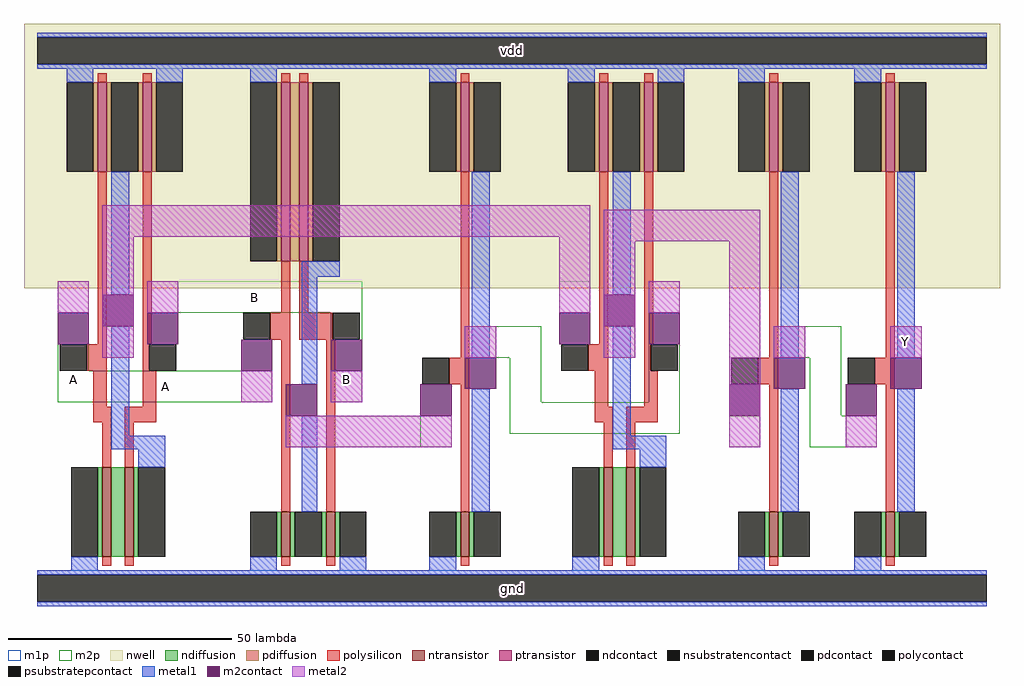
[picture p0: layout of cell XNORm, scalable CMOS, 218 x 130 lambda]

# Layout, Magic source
magic
tech scmos
magscale 1 2
<< metal2 >>
rect -121 71 97 85
rect -141 37 -127 51
rect -121 31 -107 71
rect 83 37 97 71
rect 103 69 173 83
rect 103 17 117 69
rect -39 -23 35 -9
rect 159 -23 173 69
rect 179 17 193 31
<< m2p >>
rect -141 11 -127 51
rect -101 37 -5 51
rect -141 -3 -45 11
rect -19 -3 -5 37
rect 41 17 75 31
rect 61 -3 75 17
rect 123 -3 137 51
rect 179 17 209 31
rect 61 -17 137 -3
rect 195 -9 209 17
rect 195 -23 225 -9
use INVm  INVm_0
transform 1 0 14 0 1 -80
box -8 -14 76 246
use INVm  INVm_1
transform 1 0 152 0 1 -80
box -8 -14 76 246
use INVm  INVm_2
transform 1 0 204 0 1 -80
box -8 -14 76 246
use NANDm  NANDm_0
transform 1 0 -144 0 1 -86
box -12 -8 92 252
use NANDm  NANDm_1
transform 1 0 80 0 1 -86
box -12 -8 92 252
use NORm  NORm_0
transform 1 0 -62 0 1 -86
box -12 -8 92 252
<< labels >>
rlabel metal2 -141 -3 -45 11 0 A
port 7 nsew
rlabel metal2 231 17 245 31 0 Y
port 8 nsew
rlabel psubstratepcontact -150 -92 274 -80 0 gnd
port 9 nsew
rlabel nsubstratencontact -150 148 274 160 0 vdd
port 10 nsew
rlabel metal2 -101 37 -5 51 0 B
port 11 nsew
rlabel metal2 -19 -3 -5 17 0 B
port 11 nsew
rlabel metal2 -141 -3 -127 17 0 A
port 7 nsew
<< end >>

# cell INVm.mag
magic
tech scmos
use INVX1  INVX1_0 digital_ETRI_copy
transform 1 0 2 0 1 -3
box -6 -4 36 126
<< end >>

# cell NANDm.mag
magic
tech scmos
use NAND2X1  NAND2X1_0 digital_ETRI_copy
transform 1 0 0 0 1 0
box -6 -4 46 126
<< end >>

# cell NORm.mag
magic
tech scmos
use NOR2X1  NOR2X1_0 digital_ETRI_copy
transform 1 0 0 0 1 0
box -6 -4 46 126
<< end >>

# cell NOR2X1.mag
magic
tech scmos
magscale 1 2
<< nwell >>
rect -12 134 92 252
<< ntransistor >>
rect 21 14 25 34
rect 41 14 45 34
<< ptransistor >>
rect 21 146 25 226
rect 29 146 33 226
<< ndiffusion >>
rect 19 14 21 34
rect 25 14 27 34
rect 39 14 41 34
rect 45 14 47 34
<< pdiffusion >>
rect 19 146 21 226
rect 25 146 29 226
rect 33 146 35 226
<< ndcontact >>
rect 7 14 19 34
rect 27 14 39 34
rect 47 14 59 34
<< pdcontact >>
rect 7 146 19 226
rect 35 146 47 226
<< psubstratepcontact >>
rect -6 -6 86 6
<< nsubstratencontact >>
rect -6 234 86 246
<< polysilicon >>
rect 21 226 25 230
rect 29 226 33 230
rect 21 123 25 146
rect 16 111 25 123
rect 29 123 33 146
rect 29 111 44 123
rect 21 34 25 111
rect 41 34 45 111
rect 21 10 25 14
rect 41 10 45 14
<< polycontact >>
rect 4 111 16 123
rect 44 111 56 123
<< metal1 >>
rect -6 246 86 248
rect -6 232 86 234
rect 7 226 19 232
rect 30 139 47 146
rect 30 91 37 139
rect 30 34 37 77
rect 7 8 19 14
rect 47 8 59 14
rect -6 6 86 8
rect -6 -8 86 -6
<< m2contact >>
rect 3 97 17 111
rect 43 97 57 111
rect 23 77 37 91
<< metal2 >>
rect 3 83 17 97
rect 43 83 57 97
rect 23 63 37 77
<< m1p >>
rect -6 232 86 248
rect -6 -8 86 8
<< m2p >>
rect 3 83 17 97
rect 43 83 57 97
rect 23 63 37 77
<< labels >>
rlabel metal1 -6 -8 86 8 0 gnd
port 4 nsew ground bidirectional abutment
rlabel metal1 -6 232 86 248 0 vdd
port 3 nsew power bidirectional abutment
rlabel metal2 43 83 57 97 0 B
port 1 nsew signal input
rlabel metal2 3 83 17 97 0 A
port 0 nsew signal input
rlabel metal2 23 63 37 77 0 Y
port 2 nsew signal output
<< properties >>
string FIXED_BBOX 0 0 80 240
string LEFclass CORE
string LEFsite core
string LEFsymmetry X Y
<< end >>

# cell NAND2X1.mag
magic
tech scmos
magscale 1 2
<< nwell >>
rect -12 134 92 252
<< ntransistor >>
rect 23 14 27 54
rect 33 14 37 54
<< ptransistor >>
rect 21 186 25 226
rect 41 186 45 226
<< ndiffusion >>
rect 21 14 23 54
rect 27 14 33 54
rect 37 14 39 54
<< pdiffusion >>
rect 19 186 21 226
rect 25 186 27 226
rect 39 186 41 226
rect 45 186 47 226
<< ndcontact >>
rect 9 14 21 54
rect 39 14 51 54
<< pdcontact >>
rect 7 186 19 226
rect 27 186 39 226
rect 47 186 59 226
<< psubstratepcontact >>
rect -6 -6 86 6
<< nsubstratencontact >>
rect -6 234 86 246
<< polysilicon >>
rect 21 226 25 230
rect 41 226 45 230
rect 21 109 25 186
rect 16 97 25 109
rect 19 81 25 97
rect 41 109 45 186
rect 41 97 44 109
rect 41 81 47 97
rect 19 74 27 81
rect 23 54 27 74
rect 33 74 47 81
rect 33 54 37 74
rect 23 10 27 14
rect 33 10 37 14
<< polycontact >>
rect 4 97 16 109
rect 44 97 56 109
<< metal1 >>
rect -6 246 86 248
rect -6 232 86 234
rect 7 226 19 232
rect 47 226 59 232
rect 27 131 35 186
rect 27 68 35 117
rect 27 62 51 68
rect 39 54 51 62
rect 9 8 21 14
rect -6 6 86 8
rect -6 -8 86 -6
<< m2contact >>
rect 3 109 17 123
rect 23 117 37 131
rect 43 109 57 123
<< metal2 >>
rect 3 123 17 137
rect 23 103 37 117
rect 43 123 57 137
<< m1p >>
rect -6 232 86 248
rect -6 -8 86 8
<< m2p >>
rect 3 123 17 137
rect 43 123 57 137
rect 23 103 37 117
<< labels >>
rlabel metal1 -6 -8 86 8 0 gnd
port 4 nsew ground bidirectional abutment
rlabel metal1 -6 232 86 248 0 vdd
port 3 nsew power bidirectional abutment
rlabel metal2 3 123 17 137 0 A
port 0 nsew signal input
rlabel metal2 43 123 57 137 0 B
port 1 nsew signal input
rlabel metal2 23 103 37 117 0 Y
port 2 nsew signal output
<< properties >>
string FIXED_BBOX 0 0 80 240
string LEFclass CORE
string LEFsite core
string LEFsymmetry X Y
<< end >>

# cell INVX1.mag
magic
tech scmos
magscale 1 2
<< nwell >>
rect -12 134 72 252
<< ntransistor >>
rect 21 14 25 34
<< ptransistor >>
rect 21 186 25 226
<< ndiffusion >>
rect 19 14 21 34
rect 25 14 27 34
<< pdiffusion >>
rect 19 186 21 226
rect 25 186 27 226
<< ndcontact >>
rect 7 14 19 34
rect 27 14 39 34
<< pdcontact >>
rect 7 186 19 226
rect 27 186 39 226
<< psubstratepcontact >>
rect -6 -6 66 6
<< nsubstratencontact >>
rect -6 234 66 246
<< polysilicon >>
rect 21 226 25 230
rect 21 103 25 186
rect 16 91 25 103
rect 21 34 25 91
rect 21 10 25 14
<< polycontact >>
rect 4 91 16 103
<< metal1 >>
rect -6 246 66 248
rect -6 232 66 234
rect 7 226 19 232
rect 26 103 34 186
rect 26 34 34 89
rect 7 8 19 14
rect -6 6 66 8
rect -6 -8 66 -6
<< m2contact >>
rect 3 77 17 91
rect 23 89 37 103
<< metal2 >>
rect 23 103 37 117
rect 3 63 17 77
<< m1p >>
rect -6 232 66 248
rect -6 -8 66 8
<< m2p >>
rect 23 103 37 117
rect 3 63 17 77
<< labels >>
rlabel metal1 -6 -8 66 8 0 gnd
port 3 nsew ground bidirectional abutment
rlabel metal1 -6 232 66 248 0 vdd
port 2 nsew power bidirectional abutment
rlabel metal2 3 63 17 77 0 A
port 0 nsew signal input
rlabel metal2 23 103 37 117 0 Y
port 1 nsew signal output
<< properties >>
string FIXED_BBOX 0 0 60 240
string LEFclass CORE
string LEFsite core
string LEFsymmetry X Y
<< end >>
